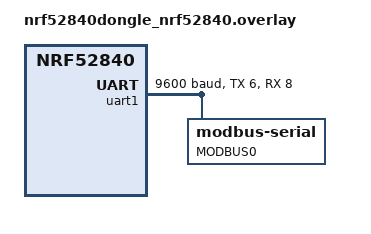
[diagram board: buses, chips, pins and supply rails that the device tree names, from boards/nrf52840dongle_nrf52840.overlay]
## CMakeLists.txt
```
cmake_minimum_required(VERSION 3.20.0)

find_package(Zephyr REQUIRED HINTS $ENV{ZEPHYR_BASE})
project(co2sensor)

target_sources(app PRIVATE
    src/bluetooth.c
    src/bt_service_co2.c
    src/main.c
)
```

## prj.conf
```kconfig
CONFIG_BT=y
CONFIG_BT_DEBUG_LOG=y
CONFIG_BT_PERIPHERAL=y
CONFIG_BT_SMP=y
CONFIG_BT_SMP_APP_PAIRING_ACCEPT=y
CONFIG_BT_SIGNING=y
CONFIG_BT_ATT_PREPARE_COUNT=5

CONFIG_BT_CTLR_PHY_CODED=y
CONFIG_BT_CTLR_ADV_EXT=y
CONFIG_BT_EXT_ADV=y
CONFIG_BT_USER_PHY_UPDATE=y

CONFIG_BT_CTLR_TX_PWR_PLUS_8=y

CONFIG_FLASH=y
CONFIG_FLASH_PAGE_LAYOUT=y
CONFIG_FLASH_MAP=y
CONFIG_NVS=y
CONFIG_SETTINGS=y
CONFIG_BT_SETTINGS=y
CONFIG_MPU_ALLOW_FLASH_WRITE=y

CONFIG_LOG=y
CONFIG_LOG_PRINTK=y
CONFIG_LOG_BUFFER_SIZE=8096
CONFIG_LOG_STRDUP_BUF_COUNT=32

CONFIG_GPIO=y
CONFIG_SERIAL=y
CONFIG_UART_INTERRUPT_DRIVEN=y
CONFIG_UART_LINE_CTRL=n
CONFIG_MODBUS=y
CONFIG_MODBUS_ROLE_CLIENT=y
```

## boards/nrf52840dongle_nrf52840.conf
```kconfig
CONFIG_USB=y
CONFIG_USB_DEVICE_STACK=y
CONFIG_USB_DEVICE_PRODUCT="BTLR CO2 sensor"
CONFIG_USB_CDC_ACM=y

CONFIG_CONSOLE=y
CONFIG_UART_CONSOLE=y
CONFIG_UART_CONSOLE_ON_DEV_NAME="CDC_ACM_0"
CONFIG_LOG_BACKEND_UART=y
CONFIG_LOG_BACKEND_RTT=n
```

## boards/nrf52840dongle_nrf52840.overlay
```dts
&uart1 {
	status = "okay";
	current-speed = <9600>;
	tx-pin = <6>;
	rx-pin = <8>;

	modbus0 {
		compatible = "zephyr,modbus-serial";
		label = "MODBUS0";
		status = "okay";
	};
};
```

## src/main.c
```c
#include "main.h"

#include <bluetooth/bluetooth.h>
#include <device.h>
#include <devicetree.h>
#include <drivers/gpio.h>
#include <fatal.h>
#include <modbus/modbus.h>
#include <sys/byteorder.h>
#include <sys/printk.h>
#include <zephyr.h>

#ifdef CONFIG_USB_DEVICE_STACK
#include <usb/usb_device.h>
#endif

#include <logging/log.h>
#include <logging/log_ctrl.h>
LOG_MODULE_REGISTER(main, LOG_LEVEL_DBG);

#define SW0_NODE DT_ALIAS(sw0)
static const struct gpio_dt_spec button = GPIO_DT_SPEC_GET_OR(SW0_NODE, gpios, { 0 });
static struct gpio_callback button_cb_data;

uint16_t g_main_meterstatus;
uint16_t g_main_alarmstatus;
uint16_t g_main_outputstatus;
uint16_t g_main_spaceco2;

static int client_iface;
static const struct modbus_iface_param client_param = {
	.mode = MODBUS_MODE_RTU,
	.rx_timeout = 50000,
	.serial = {
		.baud = 9600,
		.parity = UART_CFG_PARITY_NONE,
	},
};

static void button_pressed(const struct device *dev, struct gpio_callback *cb, uint32_t pins)
{
	int err;

	LOG_INF("Button pressed");

	err = bt_unpair(BT_ID_DEFAULT, BT_ADDR_LE_ANY);
	if (err) {
		LOG_ERR("bt_unpair: %d", err);
	}
}

static void init_button(void)
{
	int ret;

	ret = gpio_pin_configure_dt(&button, GPIO_INPUT);
	if (ret != 0) {
		LOG_ERR("Error %d: failed to configure %s pin %d",
			ret,
			button.port->name,
			button.pin);
		return;
	}

	ret = gpio_pin_interrupt_configure_dt(&button, GPIO_INT_EDGE_TO_ACTIVE);
	if (ret != 0) {
		LOG_ERR("Error %d: failed to configure interrupt on %s pin %d",
			ret,
			button.port->name,
			button.pin);
		return;
	}

	gpio_init_callback(&button_cb_data, button_pressed, BIT(button.pin));
	gpio_add_callback(button.port, &button_cb_data);
	LOG_INF("Set up button at %s pin %d", button.port->name, button.pin);
}

static int init_modbus_client(void)
{
	const char iface_name[] = { DT_PROP(DT_INST(0, zephyr_modbus_serial), label) };

	client_iface = modbus_iface_get_by_name(iface_name);

	return modbus_init_client(client_iface, client_param);
}

void main(void)
{
	int err;
	uint8_t node = 0xFE;
	uint16_t regs[4];

#ifdef CONFIG_USB_DEVICE_STACK
	err = usb_enable(NULL);
	if (err) {
		LOG_ERR("Failed to enable USB");
		return;
	}
	k_sleep(K_SECONDS(5));
	LOG_ERR("USB initialized");
#endif

	if (init_modbus_client()) {
		LOG_ERR("Modbus RTU client initialization failed");
		return;
	}

	main_init_bluetooth();

	if (!device_is_ready(button.port)) {
		LOG_ERR("Error: button device %s is not ready", button.port->name);
	} else {
		init_button();
	}

	for (;; k_sleep(K_SECONDS(5))) {
		err = modbus_read_input_regs(client_iface, node, 0x0000, regs, ARRAY_SIZE(regs));
		if (err) {
			LOG_ERR("can't read registers %d", err);
			continue;
		}

		uint16_t meterstatus = regs[0];
		uint16_t alarmstatus = regs[1];
		uint16_t outputstatus = regs[2];
		uint16_t spaceco2 = regs[3];

		LOG_INF("meter=0x%04x alarm=0x%04x output=0x%04x co2=%u",
			meterstatus,
			alarmstatus,
			outputstatus,
			spaceco2);

		if (g_main_meterstatus != meterstatus) {
			g_main_meterstatus = meterstatus;
			bt_co2_meterstatus_notify(meterstatus);
		}
		if (g_main_alarmstatus != alarmstatus) {
			g_main_alarmstatus = alarmstatus;
			bt_co2_alarmstatus_notify(alarmstatus);
		}
		if (g_main_outputstatus != outputstatus) {
			g_main_outputstatus = outputstatus;
			bt_co2_outputstatus_notify(outputstatus);
		}
		if (g_main_spaceco2 != spaceco2) {
			g_main_spaceco2 = spaceco2;
			bt_co2_spaceco2_notify(spaceco2);
		}
	}
}

void k_sys_fatal_error_handler(unsigned int reason, const z_arch_esf_t *esf)
{
	ARG_UNUSED(esf);

	LOG_PANIC();
	LOG_ERR("Resetting system");
	sys_reboot(0);
	CODE_UNREACHABLE;
}
```

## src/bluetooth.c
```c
#include <errno.h>
#include <settings/settings.h>
#include <stddef.h>
#include <string.h>
#include <sys/byteorder.h>
#include <sys/printk.h>
#include <zephyr.h>
#include <zephyr/types.h>

#include <bluetooth/bluetooth.h>
#include <bluetooth/conn.h>
#include <bluetooth/gatt.h>
#include <bluetooth/uuid.h>

#include "main.h"

#include <logging/log.h>
LOG_MODULE_REGISTER(main_bt, LOG_LEVEL_DBG);

static struct k_work_delayable start_advertising_worker;
static struct bt_le_ext_adv *adv;
static const struct bt_data ad[] = {
	BT_DATA_BYTES(BT_DATA_FLAGS, (BT_LE_AD_GENERAL | BT_LE_AD_NO_BREDR)),
};

static void connected(struct bt_conn *conn, uint8_t conn_err)
{
	int err;
	struct bt_conn_info info;
	char addr[BT_ADDR_LE_STR_LEN];

	bt_addr_le_to_str(bt_conn_get_dst(conn), addr, sizeof(addr));

	if (conn_err) {
		printk("Connection failed (err %d)\n", conn_err);
		return;
	}

	err = bt_conn_get_info(conn, &info);
	if (err) {
		printk("Failed to get connection info\n");
	} else {
		const struct bt_conn_le_phy_info *phy_info;
		phy_info = info.le.phy;

		printk("Connected: %s, tx_phy %u, rx_phy %u\n",
		       addr,
		       phy_info->tx_phy,
		       phy_info->rx_phy);
	}
}

static void disconnected(struct bt_conn *conn, uint8_t reason)
{
	printk("Disconnected (reason 0x%02x)\n", reason);

	k_work_schedule(&start_advertising_worker, K_NO_WAIT);
}

static struct bt_conn_cb conn_callbacks = {
	.connected = connected,
	.disconnected = disconnected,
};

static int create_advertising_coded(void)
{
	int err;
	struct bt_le_adv_param param = BT_LE_ADV_PARAM_INIT(
		BT_LE_ADV_OPT_CONNECTABLE | BT_LE_ADV_OPT_EXT_ADV | BT_LE_ADV_OPT_CODED,
		BT_GAP_ADV_FAST_INT_MIN_2,
		BT_GAP_ADV_FAST_INT_MAX_2,
		NULL);

	err = bt_le_ext_adv_create(&param, NULL, &adv);
	if (err) {
		printk("Failed to create advertiser set (%d)\n", err);
		return err;
	}

	printk("Created adv: %p\n", adv);

	err = bt_le_ext_adv_set_data(adv, ad, ARRAY_SIZE(ad), NULL, 0);
	if (err) {
		printk("Failed to set advertising data (%d)\n", err);
		return err;
	}

	return 0;
}

static void start_advertising_coded(struct k_work *item)
{
	int err;

	err = bt_le_ext_adv_start(adv, NULL);
	if (err) {
		printk("Failed to start advertising set (%d)\n", err);

		if (err != -EALREADY) {
			k_work_schedule(&start_advertising_worker, K_SECONDS(10));
		}
		return;
	}

	printk("Advertiser %p set started\n", adv);
}

static void bt_ready(void)
{
	int err = 0;

	printk("Bluetooth initialized\n");

	if (IS_ENABLED(CONFIG_SETTINGS)) {
		settings_load();
	}

	k_work_init_delayable(&start_advertising_worker, start_advertising_coded);

	err = create_advertising_coded();
	if (err) {
		printk("Advertising failed to create (err %d)\n", err);
		return;
	}

	k_work_schedule(&start_advertising_worker, K_NO_WAIT);
}

void main_init_bluetooth(void)
{
	int err;

	err = bt_enable(NULL);
	if (err) {
		printk("Bluetooth init failed (err %d)\n", err);
		return;
	}

	bt_ready();
	bt_conn_cb_register(&conn_callbacks);
}
```

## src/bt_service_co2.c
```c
#include <errno.h>
#include <init.h>
#include <stddef.h>
#include <string.h>
#include <sys/byteorder.h>
#include <zephyr.h>
#include <zephyr/types.h>

#include <bluetooth/bluetooth.h>
#include <bluetooth/conn.h>
#include <bluetooth/gatt.h>
#include <bluetooth/hci.h>
#include <bluetooth/uuid.h>

#include "main.h"

#include <logging/log.h>
LOG_MODULE_REGISTER(co2_gatt, LOG_LEVEL_DBG);

#define BT_UUID_CO2 \
	BT_UUID_DECLARE_128(BT_UUID_128_ENCODE(0x00000001, 0xa05a, 0x40f0, 0x8ff3, 0x3a5320959b49))
#define BT_UUID_CO2_METERSTATUS \
	BT_UUID_DECLARE_128(BT_UUID_128_ENCODE(0x00000002, 0xa05a, 0x40f0, 0x8ff3, 0x3a5320959b49))
#define BT_UUID_CO2_ALARMSTATUS \
	BT_UUID_DECLARE_128(BT_UUID_128_ENCODE(0x00000003, 0xa05a, 0x40f0, 0x8ff3, 0x3a5320959b49))
#define BT_UUID_CO2_OUTPUTSTATUS \
	BT_UUID_DECLARE_128(BT_UUID_128_ENCODE(0x00000004, 0xa05a, 0x40f0, 0x8ff3, 0x3a5320959b49))
#define BT_UUID_CO2_SPACECO2 \
	BT_UUID_DECLARE_128(BT_UUID_128_ENCODE(0x00000005, 0xa05a, 0x40f0, 0x8ff3, 0x3a5320959b49))

static ssize_t meterstatus_read(struct bt_conn *conn,
				const struct bt_gatt_attr *attr,
				void *buf,
				uint16_t len,
				uint16_t offset)
{
	uint8_t data[2];

	sys_put_le16(g_main_meterstatus, data);

	return bt_gatt_attr_read(conn, attr, buf, len, offset, data, sizeof(data));
}

static ssize_t alarmstatus_read(struct bt_conn *conn,
				const struct bt_gatt_attr *attr,
				void *buf,
				uint16_t len,
				uint16_t offset)
{
	uint8_t data[2];

	sys_put_le16(g_main_alarmstatus, data);

	return bt_gatt_attr_read(conn, attr, buf, len, offset, data, sizeof(data));
}

static ssize_t outputstatus_read(struct bt_conn *conn,
				 const struct bt_gatt_attr *attr,
				 void *buf,
				 uint16_t len,
				 uint16_t offset)
{
	uint8_t data[2];

	sys_put_le16(g_main_outputstatus, data);

	return bt_gatt_attr_read(conn, attr, buf, len, offset, data, sizeof(data));
}

static ssize_t spaceco2_read(struct bt_conn *conn,
			     const struct bt_gatt_attr *attr,
			     void *buf,
			     uint16_t len,
			     uint16_t offset)
{
	uint8_t data[2];

	sys_put_le16(g_main_spaceco2, data);

	return bt_gatt_attr_read(conn, attr, buf, len, offset, data, sizeof(data));
}

BT_GATT_SERVICE_DEFINE(dehumid_svc,
		       BT_GATT_PRIMARY_SERVICE(BT_UUID_CO2),

		       BT_GATT_CHARACTERISTIC(BT_UUID_CO2_METERSTATUS,
					      BT_GATT_CHRC_READ | BT_GATT_CHRC_NOTIFY,
					      BT_GATT_PERM_READ_ENCRYPT,
					      meterstatus_read,
					      NULL,
					      NULL),
		       BT_GATT_CCC(NULL, BT_GATT_PERM_READ_ENCRYPT | BT_GATT_PERM_WRITE_ENCRYPT),

		       BT_GATT_CHARACTERISTIC(BT_UUID_CO2_ALARMSTATUS,
					      BT_GATT_CHRC_READ | BT_GATT_CHRC_NOTIFY,
					      BT_GATT_PERM_READ_ENCRYPT,
					      alarmstatus_read,
					      NULL,
					      NULL),
		       BT_GATT_CCC(NULL, BT_GATT_PERM_READ_ENCRYPT | BT_GATT_PERM_WRITE_ENCRYPT),

		       BT_GATT_CHARACTERISTIC(BT_UUID_CO2_OUTPUTSTATUS,
					      BT_GATT_CHRC_READ | BT_GATT_CHRC_NOTIFY,
					      BT_GATT_PERM_READ_ENCRYPT,
					      outputstatus_read,
					      NULL,
					      NULL),
		       BT_GATT_CCC(NULL, BT_GATT_PERM_READ_ENCRYPT | BT_GATT_PERM_WRITE_ENCRYPT),

		       BT_GATT_CHARACTERISTIC(BT_UUID_CO2_SPACECO2,
					      BT_GATT_CHRC_READ | BT_GATT_CHRC_NOTIFY,
					      BT_GATT_PERM_READ_ENCRYPT,
					      spaceco2_read,
					      NULL,
					      NULL),
		       BT_GATT_CCC(NULL, BT_GATT_PERM_READ_ENCRYPT | BT_GATT_PERM_WRITE_ENCRYPT), );

int bt_co2_meterstatus_notify(uint16_t val)
{
	int rc;
	uint8_t buf[2];

	sys_put_le16(val, buf);

	rc = bt_gatt_notify(NULL, &dehumid_svc.attrs[1], buf, sizeof(buf));

	return rc == -ENOTCONN ? 0 : rc;
}

int bt_co2_alarmstatus_notify(uint16_t val)
{
	int rc;
	uint8_t buf[2];

	sys_put_le16(val, buf);

	rc = bt_gatt_notify(NULL, &dehumid_svc.attrs[4], buf, sizeof(buf));

	return rc == -ENOTCONN ? 0 : rc;
}

int bt_co2_outputstatus_notify(uint16_t val)
{
	int rc;
	uint8_t buf[2];

	sys_put_le16(val, buf);

	rc = bt_gatt_notify(NULL, &dehumid_svc.attrs[7], buf, sizeof(buf));

	return rc == -ENOTCONN ? 0 : rc;
}

int bt_co2_spaceco2_notify(uint16_t val)
{
	int rc;
	uint8_t buf[2];

	sys_put_le16(val, buf);

	rc = bt_gatt_notify(NULL, &dehumid_svc.attrs[10], buf, sizeof(buf));

	return rc == -ENOTCONN ? 0 : rc;
}
```

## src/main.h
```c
#ifndef MAIN_H
#define MAIN_H

#include <stdint.h>

extern uint16_t g_main_meterstatus;
extern uint16_t g_main_alarmstatus;
extern uint16_t g_main_outputstatus;
extern uint16_t g_main_spaceco2;

void main_init_bluetooth(void);
int bt_co2_meterstatus_notify(uint16_t val);
int bt_co2_alarmstatus_notify(uint16_t val);
int bt_co2_outputstatus_notify(uint16_t val);
int bt_co2_spaceco2_notify(uint16_t val);

#endif /* MAIN_H */
```
